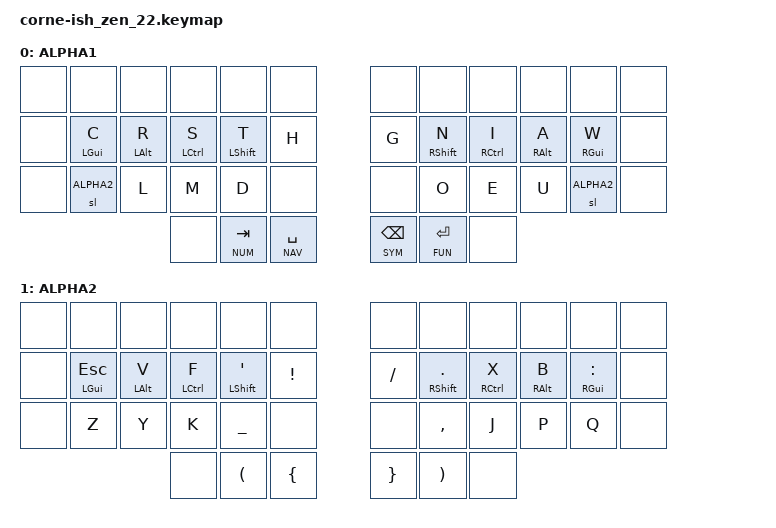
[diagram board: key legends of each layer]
/*
*
* Copyright (c) 2021 Darryl deHaan
* SPDX-License-Identifier: MIT
*
*/

#include <behaviors.dtsi>
#include <dt-bindings/zmk/keys.h>
#include <dt-bindings/zmk/bt.h>
#include <dt-bindings/zmk/outputs.h>

#define ALPHA1 0
#define ALPHA2 1
#define NUM 0
#define NAV 0
#define SYM 0
#define FUN 0

/ {
        keymap {
                compatible = "zmk,keymap";
                ALPHA1 {
                        label = "ALPHA1";
                        bindings = <
&none          &none              &none              &none              &none              &none                                 &none             &none              &none              &none              &none           &none
&none          &hm LGUI C         &hm LALT R         &hm LCTRL S        &hm LSHFT T        &kp H                                 &kp G             &hm RSHFT N        &hm RCTRL I        &hm RALT A         &hm RGUI W      &none
&none          &sl ALPHA2         &kp L              &kp M              &kp D              &none                                 &none             &kp O              &kp E              &kp U              &sl ALPHA2      &none
                                                     &none              &lt NUM TAB        &lt NAV SPC                           &lt SYM BSPC      &lt FUN RET        &none
                        >;
                };
                ALPHA2 {
                        label = "ALPHA2";
                        bindings = <
&none          &none              &none              &none              &none              &none                                 &none             &none              &none              &none              &none           &none
&none          &hm LGUI ESC       &hm LALT V         &hm LCTRL F        &hm LSHFT SQT      &kp EXCLAMATION                       &kp SLASH         &hm RSHFT DOT      &hm RCTRL X        &hm RALT B         &hm RGUI COLON  &none
&none          &kp Z              &kp Y              &kp K              &kp UNDERSCORE     &none                                 &none             &kp COMMA          &kp J              &kp P              &kp Q           &none
                                                     &none              &kp LPAR           &kp LBRC                              &kp RBRC          &kp RPAR           &none
                        >;
                };
        };
        behaviors {
                hm: homerow_mods {
                        compatible = "zmk,behavior-hold-tap";
                        label = "HOMEROW_MODS";
                        #binding-cells = <2>;
                        tapping_term_ms = <250>;
                        flavor = "tap-preferred";
                        bindings = <&kp>, <&kp>;
                };
                hto: hold_to {
                        compatible = "zmk,behavior-hold-tap";
                        label = "HOLD TO";
                        #binding-cells = <2>;
                        tapping_term_ms = <350>;
                        flavor = "tap-preferred";
                        bindings = <&to>, <&kp>;
                };
        };
};
